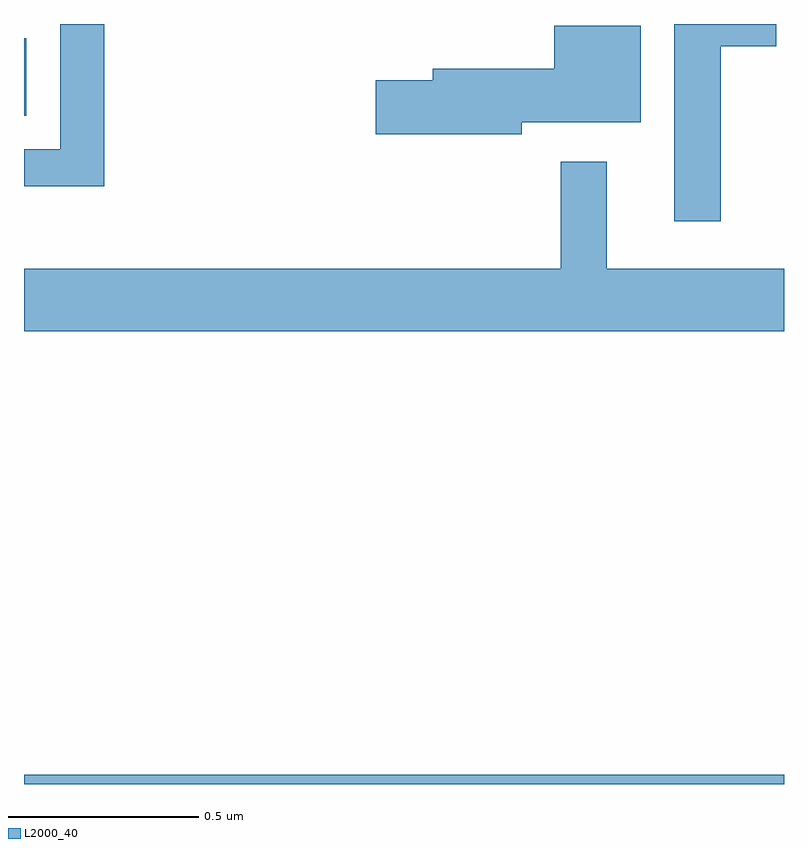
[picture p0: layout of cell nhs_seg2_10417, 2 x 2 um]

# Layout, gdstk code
import gdstk
lib = gdstk.Library(unit=1e-6, precision=1e-09)
def R(c, l, rs):  # rectangles x0, y0, x1, y1
    for r in rs: c.add(gdstk.rectangle(r[:2], r[2:], *l))
def P(c, l, *ps):  # polygons
    for p in ps: c.add(gdstk.Polygon(p, *l))
L2000_40 = (2000, 40)

nhs_seg2_10417 = lib.new_cell('nhs_seg2_10417')
R(nhs_seg2_10417, L2000_40, [(241,623.8,243,623.824), (241,625.559,241.006,625.762)])
P(nhs_seg2_10417, L2000_40, [(241.211,625.8),(241.095,625.8),(241.095,625.47),(241,625.47),(241,625.373),(241.211,625.373)],
  [(242.833,625.742),(242.98,625.742),(242.98,625.8),(242.711,625.8),(242.711,625.281),(242.833,625.281)],
  [(242.31,625.541),(242.623,625.541),(242.623,625.795),(242.396,625.795),(242.396,625.682),(242.075,625.682),(242.075,625.652),(241.926,625.652),(241.926,625.51),(242.31,625.51)],
  [(243,625.156),(242.533,625.156),(242.533,625.438),(242.412,625.438),(242.412,625.156),(241,625.156),(241,624.992),(243,624.992)])

lib.write_gds('nhs_seg2_10417.gds')
